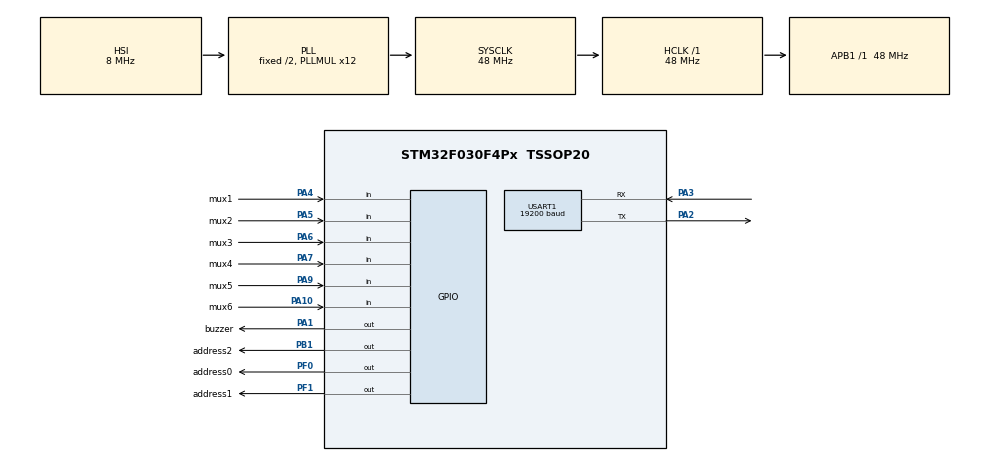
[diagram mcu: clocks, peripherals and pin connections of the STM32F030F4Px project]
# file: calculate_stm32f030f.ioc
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IWDG.Prescaler=IWDG_PRESCALER_128
Mcu.Family=STM32F0
Mcu.Name=STM32F030F4Px
Mcu.Package=TSSOP20
PA1.GPIO_Label=buzzer
PA1.GPIO_PuPd=GPIO_PULLDOWN
PA1.Signal=GPIO_Output
PA10.GPIO_Label=mux6
PA10.GPIO_PuPd=GPIO_PULLDOWN
PA10.Signal=GPIO_Input
PA2.Mode=Asynchronous
PA2.Signal=USART1_TX
PA3.Mode=Asynchronous
PA3.Signal=USART1_RX
PA4.GPIO_Label=mux1
PA4.GPIO_PuPd=GPIO_PULLDOWN
PA4.Signal=GPIO_Input
PA5.GPIO_Label=mux2
PA5.GPIO_PuPd=GPIO_PULLDOWN
PA5.Signal=GPIO_Input
PA6.GPIO_Label=mux3
PA6.GPIO_PuPd=GPIO_PULLDOWN
PA6.Signal=GPIO_Input
PA7.GPIO_Label=mux4
PA7.GPIO_PuPd=GPIO_PULLDOWN
PA7.Signal=GPIO_Input
PA9.GPIO_Label=mux5
PA9.GPIO_PuPd=GPIO_PULLDOWN
PA9.Signal=GPIO_Input
PB1.GPIO_Label=address2
PB1.GPIO_PuPd=GPIO_PULLDOWN
PB1.Signal=GPIO_Output
PF0-OSC_IN.GPIO_Label=address0
PF0-OSC_IN.GPIO_PuPd=GPIO_PULLDOWN
PF0-OSC_IN.Signal=GPIO_Output
PF1-OSC_OUT.GPIO_Label=address1
PF1-OSC_OUT.GPIO_PuPd=GPIO_PULLDOWN
PF1-OSC_OUT.Signal=GPIO_Output
ProjectManager.HeapSize=0x200
ProjectManager.StackSize=0x400
ProjectManager.TargetToolchain=MDK-ARM V5
RCC.AHBFreq_Value=48000000
RCC.APB1Freq_Value=48000000
RCC.APB1TimFreq_Value=48000000
RCC.HCLKFreq_Value=48000000
RCC.PLLMUL=RCC_PLL_MUL12
RCC.SYSCLKFreq_VALUE=48000000
RCC.SYSCLKSource=RCC_SYSCLKSOURCE_PLLCLK
USART1.BaudRate=19200
VP_IWDG_VS_IWDG.Mode=IWDG_Activate
VP_TIM16_VS_ClockSourceINT.Mode=Enable_Timer
board=calculate_stm32f030f

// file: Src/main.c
/**
  ******************************************************************************
  * File Name          : main.c
  * Description        : Main program body
  ******************************************************************************
  *
  * COPYRIGHT(c) 2019 STMicroelectronics
  *
  * Redistribution and use in source and binary forms, with or without modification,
  * are permitted provided that the following conditions are met:
  *   1. Redistributions of source code must retain the above copyright notice,
  *      this list of conditions and the following disclaimer.
  *   2. Redistributions in binary form must reproduce the above copyright notice,
  *      this list of conditions and the following disclaimer in the documentation
  *      and/or other materials provided with the distribution.
  *   3. Neither the name of STMicroelectronics nor the names of its contributors
  *      may be used to endorse or promote products derived from this software
  *      without specific prior written permission.
  *
  * THIS SOFTWARE IS PROVIDED BY THE COPYRIGHT HOLDERS AND CONTRIBUTORS "AS IS"
  * AND ANY EXPRESS OR IMPLIED WARRANTIES, INCLUDING, BUT NOT LIMITED TO, THE
  * IMPLIED WARRANTIES OF MERCHANTABILITY AND FITNESS FOR A PARTICULAR PURPOSE ARE
  * DISCLAIMED. IN NO EVENT SHALL THE COPYRIGHT HOLDER OR CONTRIBUTORS BE LIABLE
  * FOR ANY DIRECT, INDIRECT, INCIDENTAL, SPECIAL, EXEMPLARY, OR CONSEQUENTIAL
  * DAMAGES (INCLUDING, BUT NOT LIMITED TO, PROCUREMENT OF SUBSTITUTE GOODS OR
  * SERVICES; LOSS OF USE, DATA, OR PROFITS; OR BUSINESS INTERRUPTION) HOWEVER
  * CAUSED AND ON ANY THEORY OF LIABILITY, WHETHER IN CONTRACT, STRICT LIABILITY,
  * OR TORT (INCLUDING NEGLIGENCE OR OTHERWISE) ARISING IN ANY WAY OUT OF THE USE
  * OF THIS SOFTWARE, EVEN IF ADVISED OF THE POSSIBILITY OF SUCH DAMAGE.
  *
  ******************************************************************************
  */
#include "stm32f0xx_hal.h"
#include<math.h>
/* USER CODE BEGIN Includes */
#define mu1 mux5_Pin
#define mu2 mux6_Pin

#define a 7
#define b 6
#define c 5
#define d 4
#define e 3
#define f 2
#define g 1
#define dot 0
static int point=0;
static int segment=0;
/* USER CODE END Includes */

IWDG_HandleTypeDef hiwdg;

TIM_HandleTypeDef htim16;

UART_HandleTypeDef huart1;

/* USER CODE BEGIN PV */
/* Private variables ---------------------------------------------------------*/

/* USER CODE END PV */

void SystemClock_Config(void);
void Error_Handler(void);
static void MX_GPIO_Init(void);
static void MX_IWDG_Init(void);
static void MX_USART1_UART_Init(void);
static void MX_TIM16_Init(void);

/* USER CODE BEGIN PFP */
/* Private function prototypes -----------------------------------------------*/

/* USER CODE END PFP */

/* USER CODE BEGIN 0 */
int getHexVal(char charachter)
{
  if(charachter >= '0' && charachter<= '9')
    return charachter - '0';
  else if(charachter >= 'a' && charachter<= 'f')
    return charachter - 'a' + 10;
  else if(charachter >= 'A' && charachter<= 'F')
    return charachter - 'A' + 10;
  else
    return -1;//error
}

int makepm_pax_rs232_a80(char* value,char*pm,int sizepm){
	int totalsize,sizepacket1,sizepacket2;
	char part1[250];
		totalsize=112+sizepm;
		sizepacket1=106+sizepm;
		sizepacket2=23+sizepm;
		//sprintf(pm,"027400000001726E B11B 81");
		sprintf(pm,"02");
		sprintf(pm +2 ,"%x0000000172",totalsize);
		sprintf(pm+14,"%xB1",sizepacket1);
		sprintf(pm+18 ,"%x81",sizepacket2);
		sprintf(pm+22 ,"%.2x",sizepm);
		for ( int s=0;s<sizepm;s++){
			sprintf(pm+24+s*2 ,"3%c",value[s]);
		}
		sprintf(pm+24	+(sizepm*2),"820AD4E4C7D3E53A3130300A830101840103850100B24FA11B810431303030820130830130840130850130860130870130880130A230A10C8105D4E4C7D3E58203313030A1118106446C6C5665728207322E312E302E31A10D81065072675665728203312E3031C1E704");
		return strlen(pm);
//							for(int i = 0; i < 100; i +=2)
//							{
//								part1[i/2] = getHexVal(pm[i])*16 + getHexVal(pm[i+1]);
//								HAL_UART_Transmit(&huart1, (uint8_t*)(part1+i/2), 1, 5000);
//							}
}
void mux_control_mode(){
	address0_GPIO_Port->ODR=0x2;
	address1_GPIO_Port->ODR=0x2;
	address2_GPIO_Port->ODR=0;

}
void beep (int time){
	for(int i=0;i<time;i++){
	buzzer_GPIO_Port->ODR^=buzzer_Pin;
		HAL_Delay(1);
	}
}

void delay (int i){

	while(i>0){
	TIM16->SR &=0xfe;
	  TIM16->CNT=0;
						while((!((TIM16->SR)&0x01)) );

					 TIM16->CNT=0;
	i--;
	}
}
void wating(void){//watting untill common driver pin become zero
mux_control_mode();
		delay(5);
	while(1){
		 if( (mux3_GPIO_Port->IDR)&(mux3_Pin)){while((mux3_GPIO_Port->IDR)&(mux3_Pin));}
		 else{while(!((mux3_GPIO_Port->IDR)&(mux3_Pin)));break;}

	 }
}
int duty_finder(){
	int duty=0;
	wating();
	while((mux3_GPIO_Port->IDR)&(mux3_Pin)){
		delay(1);
		duty++;
	 }
	return duty;
}
double rialtoman_checking(int duty){
	int input;
	mux_control_mode();
	int rial=0,toman=0;
	for (int i=0;i<2*duty;i++){
		delay(1);
		input=GPIOA->IDR;
		if(((input&mux1_Pin)<<3)==(input&mux4_Pin)){
			rial++;
		}
		if(((input&mux2_Pin)<<2)==(input&mux4_Pin)){
			toman++;
		}

}
	if((rial<600)&(toman<600))return 1.0;
	if(rial>toman){
		return 10000.0;
	}
	else if( rial<toman)return 10.0;
	else return 1.0;
	}

/* USER CODE END 0 */
double find_number(int *signal_0,int *signal_1,int *signal_2,int dA,int dB,int dC,int Amux,int Bmux,int Cmux ){
			double x1;
			int hex=0;
			hex|=((signal_0[dA]&Amux)&&Amux)<<b;//d3--mux1 ->num 1 b column 1
			hex|=((signal_0[dB]&Bmux)&&Bmux)<<a;//d2--mux1 ->num 1 a column 2
			hex|=((signal_0[dC]&Cmux)&&Cmux)<<f;//d2--mux2 ->num 1 f	column 3
			hex|=((signal_1[dA]&Amux)&&Amux)<<c;//d3--mux1 ->num 1 c column 1
			hex|=((signal_1[dB]&Bmux)&&Bmux)<<g;//d2--mux1 ->num 1 g column 2
			hex|=((signal_1[dC]&Cmux)&&Cmux)<<e;//d2--mux2 ->num 1 e	column 3
			hex|=((signal_2[dA]&Amux)&&Amux)<<dot;//d3--mux1 ->num  dot column 1
			hex|=((signal_2[dB]&Bmux)&&Bmux)<<d;//d2--mux1 ->num 1 d column 2

	switch (hex|0x01){
			case 0x03:{x1=0;break;}
			case 0x9f:{x1=1;break;}
			case 0x25:{x1=2;break;}
			case 0x0d:{x1=3;break;}
			case 0x99:{x1=4;break;}
			case 0x49:{x1=5;break;}
			case 0x41:{x1=6;break;}
			case 0x1b:{x1=7;break;}
			case 0x01:{x1=8;break;}
			case 0x09:{x1=9;break;}
					 default:{x1=0;break;}

		}
		if(hex&0x01){
			segment++;
		}
		else{
			point=segment;
		}
	return x1;
}
int main(void)
{

  /* MCU Configuration----------------------------------------------------------*/

  /* Reset of all peripherals, Initializes the Flash interface and the Systick. */
  HAL_Init();

  /* Configure the system clock */
  SystemClock_Config();

  /* Initialize all configured peripherals */
  MX_GPIO_Init();
	MX_IWDG_Init();
  MX_USART1_UART_Init();
  MX_TIM16_Init();

  /* USER CODE BEGIN 2 */
	uint8_t muxinput[6];
	char pm_pos[300];
	//char pm_pos_hex[300];
	char print[300];
	char sum_print[30];
	int mu2_counter,mu1_counter,mu12_counter,mu_valid;
	int mu1_list[10],mu2_list[10];
	int signal_0[15],signal_1[15],signal_2[15];
	int numbers[15];
	int duty;
	int test,scale;
	double x1;

  /* USER CODE BEGIN 2 */
	HAL_IWDG_Start(&hiwdg);
	HAL_UART_Transmit(&huart1,(uint8_t*)"start\n",10,1);
  /* USER CODE END 2 */

  /* Infinite loop */
  /* USER CODE BEGIN WHILE */
	mux_control_mode();

	while (1)

 {
	HAL_IWDG_Refresh(&hiwdg);

	mu2_counter=0;
	mu1_counter=0;
	mu_valid=0;

	/*if(((GPIOA->IDR)&(mu2|mu1))== 0){//some keyys pressed (interupt)
			HAL_UART_Transmit(&huart1,(uint8_t*)"1\n",10,1);
	for(int i=0;i<8;i++){
		mu2_counter=0;
		mu1_counter=0;
				HAL_IWDG_Refresh(&hiwdg);
			while (((GPIOA->IDR)&(mu1|mu2))!= 0);//waiting until both 0
			while (((GPIOA->IDR)&(mu1|mu2))== 0){
				mu1_counter++;
			}
					HAL_IWDG_Refresh(&hiwdg);
				while (((GPIOA->IDR)&(mu1|mu2))!= (mu1|mu2));//waiting until both 1
				while (((GPIOA->IDR)&(mu1|mu2))== (mu1|mu2)){
					mu2_counter++;
				}
				mu1_list[i]=mu1_counter;
				mu2_list[i]=mu2_counter;
	}
}

		for(int i=0;i<8;i++){///validateion
			if(abs(mu1_list[i]-1760)<300){
				if(abs(mu2_list[i]-11640)<800){
					mu_valid++;
				}
			}
			mu1_list[i]=0;
			mu2_list[i]=0;
		}

	if(mu_valid>5){//mu_selection validate
	}
*/	//mu press mod 1 checking
//mu press mode 2 cheking
 mu1_counter=0;
 while(((GPIOA->IDR)&(mu2|mu1))== 0) mu1_counter++;
 if(mu1_counter>26000){//some key pressed
		mu1_counter=0;
	 while((((GPIOA->IDR)&(mu1))<<1)&&((GPIOA->IDR)&(mu2)));
	 if((((GPIOA->IDR)&(mu2|mu1))==0)){//mu detected
			HAL_IWDG_Refresh(&hiwdg);

			beep(100);
			scale=rialtoman_checking(duty_finder());
//		 sprintf(print,"scale:%d\n",scale);
//			HAL_UART_Transmit(&huart1,(uint8_t*)print,30,1);
			//HAL_Delay(1000);
		///start reading
			for(int n=0;n<1;n++){
				duty=duty_finder();
				for(int i=0;i<15;i++){
							numbers[i]=0;
							signal_0[i]=0;
							signal_1[i]=0;
							signal_2[i]=0;
				}
				///reading signal_ parallel  state 0
				wating();
				address0_GPIO_Port->ODR=0;
				address2_GPIO_Port->ODR=0;
				for (int di=0;di<4;di++){
					delay(5);
					signal_0[di]=(GPIOA->IDR);
			  	address0_GPIO_Port->ODR+=0x1;

			  }
				address0_GPIO_Port->ODR=0;
				address2_GPIO_Port->ODR=0xff;
				for (int di=4;di<8;di++){
					delay(5);
					signal_0[di]=(GPIOA->IDR);
			  	address0_GPIO_Port->ODR+=0x1;

			}//reading finished  state 0
				wating();
				delay(duty/3+5);

				///reading signal_ parallel state 1
				address0_GPIO_Port->ODR=0;
				address2_GPIO_Port->ODR=0;
				for (int di=0;di<4;di++){
				  delay(5);
		   		signal_1[di]=(GPIOA->IDR);
			   	address0_GPIO_Port->ODR+=0x1;

			}
				address0_GPIO_Port->ODR=0;
				address2_GPIO_Port->ODR=0xff;
				for (int di=4;di<8;di++){
					delay(5);
					signal_1[di]=(GPIOA->IDR);
			  	address0_GPIO_Port->ODR+=0x1;
				}//reading finished state 1
				wating();
				delay(duty*4/5);

				///reading signal_ parallel state 2
				address0_GPIO_Port->ODR=0;
				address2_GPIO_Port->ODR=0;
				for (int di=0;di<4;di++){
					delay(5);
					signal_2[di]=(GPIOA->IDR);
			  	address0_GPIO_Port->ODR+=0x1;
				}
				address0_GPIO_Port->ODR=0;
				address2_GPIO_Port->ODR=0xff;
				for (int di=4;di<8;di++){
				delay(5);
					signal_2[di]=(GPIOA->IDR);
			  	address0_GPIO_Port->ODR+=0x1;
			}//reading finished

				x1=0;
				segment=0;
				x1=find_number(signal_0,signal_1,signal_2,3,2,2,mux1_Pin,mux1_Pin,mux2_Pin);
				x1+=pow(10,1)*find_number(signal_0,signal_1,signal_2,1,0,7,mux1_Pin,mux1_Pin,mux1_Pin);
				x1+=pow(10,2)*find_number(signal_0,signal_1,signal_2,4,5,6,mux1_Pin,mux1_Pin,mux1_Pin);
				x1+=pow(10,3)*find_number(signal_0,signal_1,signal_2,7,6,5,mux2_Pin,mux2_Pin,mux2_Pin);
				x1+=pow(10,4)*find_number(signal_0,signal_1,signal_2,4,0,1,mux2_Pin,mux2_Pin,mux2_Pin);
				x1+=pow(10,5)*find_number(signal_0,signal_1,signal_2,3,7,0,mux2_Pin,mux3_Pin,mux3_Pin);
				x1+=pow(10,6)*find_number(signal_0,signal_1,signal_2,1,6,3,mux3_Pin,mux3_Pin,mux3_Pin);
				x1+=pow(10,7)*find_number(signal_0,signal_1,signal_2,5,4,7,mux3_Pin,mux3_Pin,mux4_Pin);
				x1+=pow(10,8)*find_number(signal_0,signal_1,signal_2,6,3,5,mux4_Pin,mux4_Pin,mux4_Pin);
				x1+=pow(10,9)*find_number(signal_0,signal_1,signal_2,4,7,6,mux4_Pin,mux5_Pin,mux5_Pin);
				x1+=pow(10,10)*find_number(signal_0,signal_1,signal_2,5,4,0,mux5_Pin,mux5_Pin,mux5_Pin);
				x1+=pow(10,11)*find_number(signal_0,signal_1,signal_2,1,3,0,mux5_Pin,mux5_Pin,mux6_Pin);
				x1+=pow(10,12)*find_number(signal_0,signal_1,signal_2,4,5,6,mux6_Pin,mux6_Pin,mux6_Pin);
				x1+=pow(10,13)*find_number(signal_0,signal_1,signal_2,7,3,1,mux6_Pin,mux6_Pin,mux6_Pin);
				x1=x1/pow(10,point);
				x1=x1*scale;
			for( int i=0;i<30;i++){
								sum_print[i]=0;

								}
			 	sprintf(sum_print,"%.14f\n",x1);
				//HAL_UART_Transmit(&huart1,(uint8_t*)sum_print,30,1);
				 for(int i=0;i<300;i++){

								pm_pos [i]=0;
								}
				for( int i=0;i<30;i++){
								sum_print[i]=0;

								}
				sprintf(sum_print,"%0.f",x1);/// rounding
				//HAL_UART_Transmit(&huart1,(uint8_t*)sum_print,30,1);
				int len =strlen(sum_print);
				makepm_pax_rs232_a80(sum_print, pm_pos, len);
				//HAL_UART_Transmit(&huart1,(uint8_t*)pm_pos,300,1);
				uint8_t bit=0;
				for(int i = 0; i < (240+len); i +=2)
							{
								bit=getHexVal(pm_pos[i])*16 + getHexVal(pm_pos[i+1]);
								HAL_UART_Transmit(&huart1,&bit,1,5000);//send vaue pm in protocol
							}
				mux_control_mode();
		}

	 }

}
  }

}

/** System Clock Configuration
*/
void SystemClock_Config(void)
{

  RCC_OscInitTypeDef RCC_OscInitStruct;
  RCC_ClkInitTypeDef RCC_ClkInitStruct;
  RCC_PeriphCLKInitTypeDef PeriphClkInit;

  RCC_OscInitStruct.OscillatorType = RCC_OSCILLATORTYPE_HSI|RCC_OSCILLATORTYPE_LSI;
  RCC_OscInitStruct.HSIState = RCC_HSI_ON;
  RCC_OscInitStruct.HSICalibrationValue = 16;
  RCC_OscInitStruct.LSIState = RCC_LSI_ON;
  RCC_OscInitStruct.PLL.PLLState = RCC_PLL_ON;
  RCC_OscInitStruct.PLL.PLLSource = RCC_PLLSOURCE_HSI;
  RCC_OscInitStruct.PLL.PLLMUL = RCC_PLL_MUL12;
  RCC_OscInitStruct.PLL.PREDIV = RCC_PREDIV_DIV1;
  if (HAL_RCC_OscConfig(&RCC_OscInitStruct) != HAL_OK)
  {
    Error_Handler();
  }

  RCC_ClkInitStruct.ClockType = RCC_CLOCKTYPE_HCLK|RCC_CLOCKTYPE_SYSCLK
                              |RCC_CLOCKTYPE_PCLK1;
  RCC_ClkInitStruct.SYSCLKSource = RCC_SYSCLKSOURCE_PLLCLK;
  RCC_ClkInitStruct.AHBCLKDivider = RCC_SYSCLK_DIV1;
  RCC_ClkInitStruct.APB1CLKDivider = RCC_HCLK_DIV1;
  if (HAL_RCC_ClockConfig(&RCC_ClkInitStruct, FLASH_LATENCY_1) != HAL_OK)
  {
    Error_Handler();
  }

  PeriphClkInit.PeriphClockSelection = RCC_PERIPHCLK_USART1;
  PeriphClkInit.Usart1ClockSelection = RCC_USART1CLKSOURCE_PCLK1;
  if (HAL_RCCEx_PeriphCLKConfig(&PeriphClkInit) != HAL_OK)
  {
    Error_Handler();
  }

  HAL_SYSTICK_Config(HAL_RCC_GetHCLKFreq()/1000);

  HAL_SYSTICK_CLKSourceConfig(SYSTICK_CLKSOURCE_HCLK);

  /* SysTick_IRQn interrupt configuration */
  HAL_NVIC_SetPriority(SysTick_IRQn, 0, 0);
}

/* IWDG init function */
static void MX_IWDG_Init(void)
{

  hiwdg.Instance = IWDG;
  hiwdg.Init.Prescaler = IWDG_PRESCALER_128;
  hiwdg.Init.Window = 4095;
  hiwdg.Init.Reload = 4095;
  if (HAL_IWDG_Init(&hiwdg) != HAL_OK)
  {
    Error_Handler();
  }

}

/* TIM16 init function */
static void MX_TIM16_Init(void)
{

  htim16.Instance = TIM16;
  htim16.Init.Prescaler = 0;
  htim16.Init.CounterMode = TIM_COUNTERMODE_UP;
  htim16.Init.Period = 0;
  htim16.Init.ClockDivision = TIM_CLOCKDIVISION_DIV1;
  htim16.Init.RepetitionCounter = 0;
  if (HAL_TIM_Base_Init(&htim16) != HAL_OK)
  {
    Error_Handler();
  }
	TIM16->PSC |=1; /* (1) */
TIM16->ARR = 500- 1; /* (2) */
TIM16->CCR1 = 500- 1; /* (3) */
TIM1->CCMR1 |= TIM_CCMR1_OC1M_0 | TIM_CCMR1_OC1M_1; /* (4) */
TIM16->CCER |= TIM_CCER_CC1E; /* (5)*/
TIM16->BDTR |= TIM_BDTR_MOE; /* (6) */
TIM16->CR1 |= TIM_CR1_CEN; /* (7) */

}

/* USART1 init function */
static void MX_USART1_UART_Init(void)
{

  huart1.Instance = USART1;
  huart1.Init.BaudRate = 19200;
  huart1.Init.WordLength = UART_WORDLENGTH_8B;
  huart1.Init.StopBits = UART_STOPBITS_1;
  huart1.Init.Parity = UART_PARITY_NONE;
  huart1.Init.Mode = UART_MODE_TX_RX;
  huart1.Init.HwFlowCtl = UART_HWCONTROL_NONE;
  huart1.Init.OverSampling = UART_OVERSAMPLING_16;
  huart1.Init.OneBitSampling = UART_ONE_BIT_SAMPLE_DISABLE;
  huart1.AdvancedInit.AdvFeatureInit = UART_ADVFEATURE_NO_INIT;
  if (HAL_UART_Init(&huart1) != HAL_OK)
  {
    Error_Handler();
  }

}

/** Configure pins as
        * Analog
        * Input
        * Output
        * EVENT_OUT
        * EXTI
*/
static void MX_GPIO_Init(void)
{

  GPIO_InitTypeDef GPIO_InitStruct;

  /* GPIO Ports Clock Enable */
  __HAL_RCC_GPIOF_CLK_ENABLE();
  __HAL_RCC_GPIOA_CLK_ENABLE();
  __HAL_RCC_GPIOB_CLK_ENABLE();

  /*Configure GPIO pin Output Level */
  HAL_GPIO_WritePin(GPIOF, address0_Pin|address1_Pin, GPIO_PIN_RESET);

  /*Configure GPIO pin Output Level */
  HAL_GPIO_WritePin(buzzer_GPIO_Port, buzzer_Pin, GPIO_PIN_RESET);

  /*Configure GPIO pin Output Level */
  HAL_GPIO_WritePin(address2_GPIO_Port, address2_Pin, GPIO_PIN_RESET);

  /*Configure GPIO pins : address0_Pin address1_Pin */
  GPIO_InitStruct.Pin = address0_Pin|address1_Pin;
  GPIO_InitStruct.Mode = GPIO_MODE_OUTPUT_PP;
  GPIO_InitStruct.Pull = GPIO_PULLDOWN;
  GPIO_InitStruct.Speed = GPIO_SPEED_FREQ_LOW;
  HAL_GPIO_Init(GPIOF, &GPIO_InitStruct);

  /*Configure GPIO pin : buzzer_Pin */
  GPIO_InitStruct.Pin = buzzer_Pin;
  GPIO_InitStruct.Mode = GPIO_MODE_OUTPUT_PP;
  GPIO_InitStruct.Pull = GPIO_PULLDOWN;
  GPIO_InitStruct.Speed = GPIO_SPEED_FREQ_LOW;
  HAL_GPIO_Init(buzzer_GPIO_Port, &GPIO_InitStruct);

  /*Configure GPIO pins : mux1_Pin mux2_Pin mux3_Pin mux4_Pin
                           mux5_Pin mux6_Pin */
  GPIO_InitStruct.Pin = mux1_Pin|mux2_Pin|mux3_Pin|mux4_Pin
                          |mux5_Pin|mux6_Pin;
  GPIO_InitStruct.Mode = GPIO_MODE_INPUT;
  GPIO_InitStruct.Pull = GPIO_PULLDOWN;
  HAL_GPIO_Init(GPIOA, &GPIO_InitStruct);

  /*Configure GPIO pin : address2_Pin */
  GPIO_InitStruct.Pin = address2_Pin;
  GPIO_InitStruct.Mode = GPIO_MODE_OUTPUT_PP;
  GPIO_InitStruct.Pull = GPIO_PULLDOWN;
  GPIO_InitStruct.Speed = GPIO_SPEED_FREQ_LOW;
  HAL_GPIO_Init(address2_GPIO_Port, &GPIO_InitStruct);

}

void Error_Handler(void)
{
  while(1)
  {
  }
}

/************************ (C) COPYRIGHT STMicroelectronics *****END OF FILE****/
